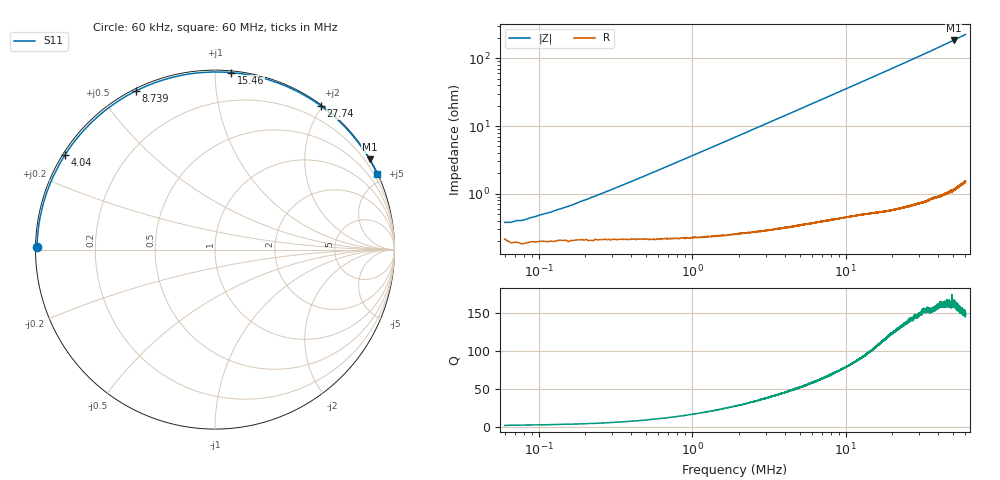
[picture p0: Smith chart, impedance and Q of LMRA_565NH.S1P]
!Keysight Technologies,E5063A,MY54100949,A.07.30
!Date: Wed Dec 31 03:38:37 2025
!Data & Calibration Information:
!Freq	S11:SOLT1(ON)
# Hz S RI R 50
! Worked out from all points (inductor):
!   10001 points, 60 kHz to 60 MHz, reference 50 ohm
!   read as one part to ground: L = 591 nH near 359.7 kHz
!   highest Q = 164 at 50.28 MHz (marker M1), where L = 586 nH
!   S11 on the Smith chart (normalised r, x): 60 kHz: 0.00, +0.01; 4.04 MHz: 0.01, +0.29; 8.739 MHz: 0.01, +0.62; 15.46 MHz: 0.01, +1.10; 27.74 MHz: 0.01, +1.98; 60 MHz: 0.03, +4.50
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60000  -0.9914 0.0124
311748  -0.9905 0.0469
977082  -0.9812 0.1408
1954104  -0.9516 0.2735
2967090  -0.9036 0.4022
4040016  -0.8368 0.5261
5790264  -0.7016 0.6952
6677376  -0.6251 0.7646
7552500  -0.5469 0.8223
8739312  -0.4393 0.8847
1.011793e7  -0.3169 0.936
1.161643e7  -0.19 0.9703
1.323481e7  -0.0633 0.9874
1.5045e7  0.0638 0.9883
1.545859e7  0.0904 0.9863
1.712492e7  0.1905 0.9727
1.88392e7  0.2807 0.9515
2.065538e7  0.3633 0.9237
2.25375e7  0.437 0.8919
2.504899e7  0.5191 0.8476
2.774029e7  0.5907 0.8
3.003e7  0.6408 0.761
3.363839e7  0.7043 0.7034
3.75225e7  0.7568 0.6472
4.5015e7  0.8274 0.5555
5.027773e7  0.8611 0.5022
5.25075e7  0.8728 0.4818
6e7  0.9035 0.4219
